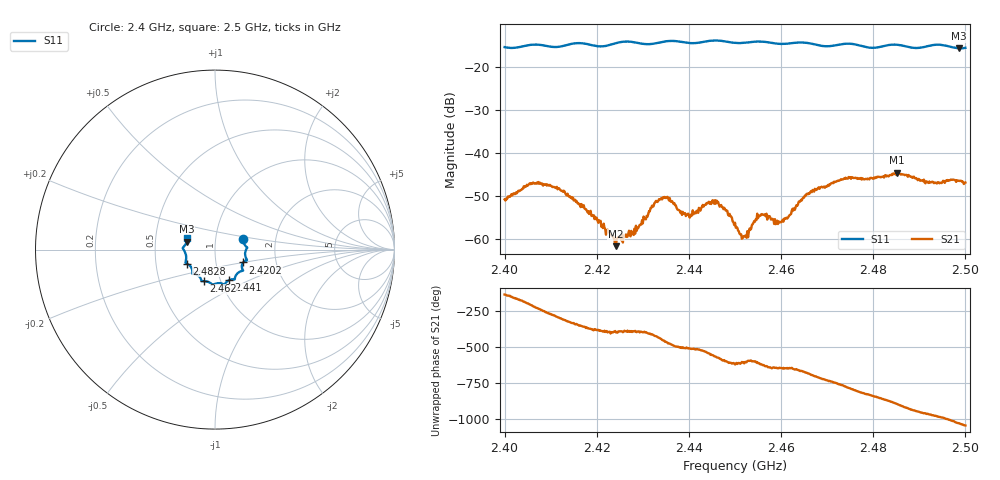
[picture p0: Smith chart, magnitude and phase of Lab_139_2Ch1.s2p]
# Hz S RI R 50
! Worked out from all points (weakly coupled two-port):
!   601 points, 2.4 GHz to 2.5 GHz, reference 50 ohm
!   highest |S21| = -44.59 dB at 2.4852 GHz (marker M1); lowest = -61.7 dB at 2.4242 GHz (marker M2)
!   lowest |S11| = -15.8 dB at 2.4987 GHz (marker M3), VSWR 1.39, Z = 36.3 + j3.26 ohm
!   |S11| at or under -10 dB: start of sweep to end of sweep
!   S12 and S22 are empty: the file has one direction only
!   S11 on the Smith chart (normalised r, x): 2.4 GHz: 1.36, +0.17; 2.4202 GHz: 1.36, -0.20; 2.441 GHz: 1.10, -0.39; 2.462 GHz: 0.83, -0.30; 2.4828 GHz: 0.72, -0.12; 2.5 GHz: 0.73, +0.09
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2.4e9  0.1571 0.0608  -0.00202 -0.00205  0 0  0 0
2.407333e9  0.1793 0.0096  -0.00276 0.00366  0 0  0 0
2.416667e9  0.1775 -0.0591  0.00253 0.0003  0 0  0 0
2.420167e9  0.157 -0.0719  0.00152 -0.000599  0 0  0 0
2.424167e9  0.1526 -0.1085  0.000649 -0.000512  0 0  0 0
2.427833e9  0.1522 -0.1184  0.000965 -0.000621  0 0  0 0
2.433333e9  0.1125 -0.152  0.000798 -0.00265  0 0  0 0
2.435333e9  0.1106 -0.164  -0.00102 -0.00292  0 0  0 0
2.441e9  0.0773 -0.1706  -0.0017 -0.000927  0 0  0 0
2.445667e9  0.0521 -0.1943  -0.00254 0.00123  0 0  0 0
2.45e9  0.027 -0.1867  -0.000206 0.00153  0 0  0 0
2.452e9  0.00749 -0.1887  -0.000285 0.00103  0 0  0 0
2.455333e9  -0.0122 -0.1952  -0.000497 0.0018  0 0  0 0
2.459333e9  -0.0361 -0.1806  0.000432 0.00143  0 0  0 0
2.462e9  -0.0614 -0.176  0.000612 0.00182  0 0  0 0
2.466667e9  -0.0774 -0.1673  0.00317 0.00147  0 0  0 0
2.4745e9  -0.126 -0.1351  0.00219 -0.00452  0 0  0 0
2.482833e9  -0.1579 -0.0779  -0.00467 -0.00256  0 0  0 0
2.483333e9  -0.1608 -0.0766  -0.00486 -0.00218  0 0  0 0
2.485167e9  -0.1645 -0.0717  -0.00589 -0.000284  0 0  0 0
2.498667e9  -0.1569 0.0436  0.00316 0.0035  0 0  0 0
2.5e9  -0.1534 0.062  0.0038 0.00245  0 0  0 0
